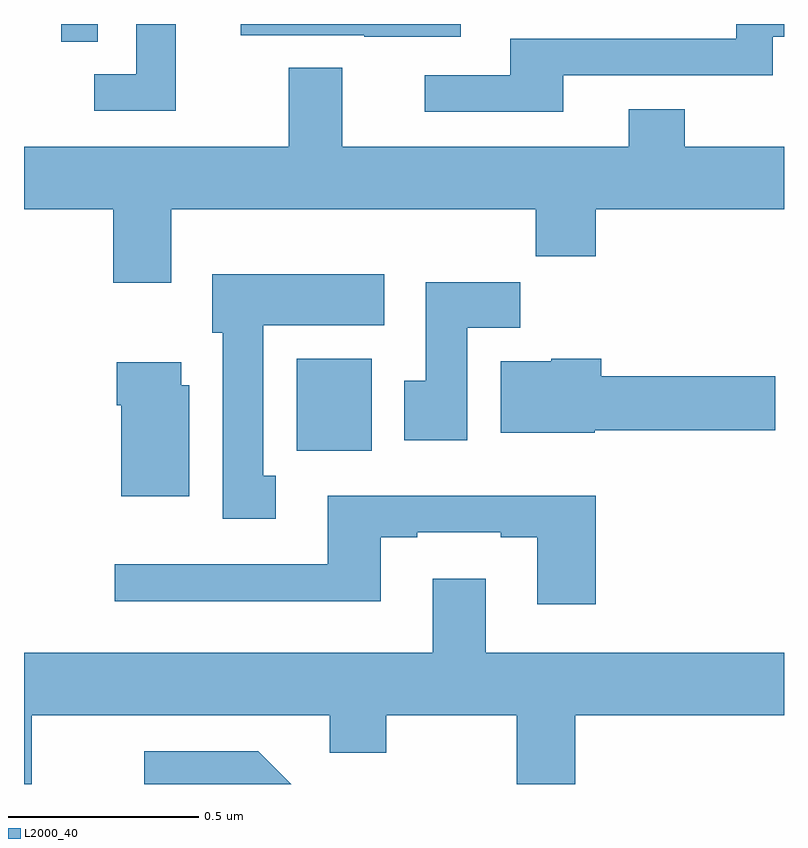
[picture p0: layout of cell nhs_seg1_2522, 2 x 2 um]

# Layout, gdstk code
import gdstk
lib = gdstk.Library(unit=1e-6, precision=1e-09)
def R(c, l, rs):  # rectangles x0, y0, x1, y1
    for r in rs: c.add(gdstk.rectangle(r[:2], r[2:], *l))
def P(c, l, *ps):  # polygons
    for p in ps: c.add(gdstk.Polygon(p, *l))
L2000_40 = (2000, 40)

nhs_seg1_2522 = lib.new_cell('nhs_seg1_2522')
R(nhs_seg1_2522, L2000_40, [(142.718,571.076,142.915,571.318), (142.098,572.152,142.194,572.199)])
P(nhs_seg1_2522, L2000_40, [(143.149,572.199),(142.571,572.199),(142.571,572.169),(142.895,572.169),(142.895,572.165),(143.149,572.165)],
  [(143.419,572.064),(143.97,572.064),(143.97,572.166),(144,572.166),(144,572.199),(143.874,572.199),(143.874,572.16),(143.279,572.16),(143.279,572.064),(143.055,572.064),(143.055,571.968),(143.419,571.968)],
  [(142.399,572.199),(142.295,572.199),(142.295,572.067),(142.185,572.067),(142.185,571.971),(142.399,571.971)],
  [(142.387,571.712),(143.347,571.712),(143.347,571.588),(143.504,571.588),(143.504,571.712),(144,571.712),(144,571.876),(143.739,571.876),(143.739,571.975),(143.591,571.975),(143.591,571.876),(142.837,571.876),(142.837,572.084),(142.697,572.084),(142.697,571.876),(142,571.876),(142,571.712),(142.235,571.712),(142.235,571.518),(142.387,571.518)],
  [(142.663,571.01),(142.63,571.01),(142.63,571.406),(142.948,571.406),(142.948,571.54),(142.496,571.54),(142.496,571.386),(142.523,571.386),(142.523,570.897),(142.663,570.897)],
  [(143.167,571.4),(143.306,571.4),(143.306,571.519),(143.057,571.519),(143.057,571.26),(143,571.26),(143,571.104),(143.167,571.104)],
  [(143.502,571.13),(143.977,571.13),(143.977,571.272),(143.519,571.272),(143.519,571.318),(143.388,571.318),(143.388,571.312),(143.255,571.312),(143.255,571.124),(143.502,571.124)],
  [(142.435,571.248),(142.414,571.248),(142.414,571.309),(142.244,571.309),(142.244,571.196),(142.256,571.196),(142.256,570.956),(142.435,570.956)],
  [(143.504,570.958),(142.799,570.958),(142.799,570.777),(142.239,570.777),(142.239,570.68),(142.939,570.68),(142.939,570.849),(143.035,570.849),(143.035,570.861),(143.255,570.861),(143.255,570.849),(143.351,570.849),(143.351,570.672),(143.504,570.672)],
  [(142.021,570.38),(142.805,570.38),(142.805,570.281),(142.953,570.281),(142.953,570.38),(143.297,570.38),(143.297,570.199),(143.45,570.199),(143.45,570.38),(144,570.38),(144,570.544),(143.215,570.544),(143.215,570.739),(143.075,570.739),(143.075,570.544),(142,570.544),(142,570.199),(142.021,570.199)],
  [(142.617,570.285),(142.317,570.285),(142.317,570.199),(142.703,570.199)])

lib.write_gds('nhs_seg1_2522.gds')
